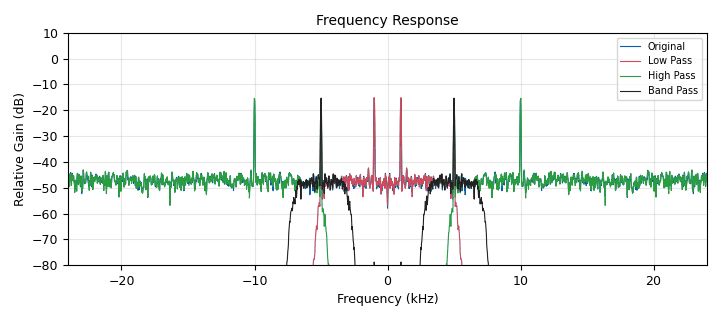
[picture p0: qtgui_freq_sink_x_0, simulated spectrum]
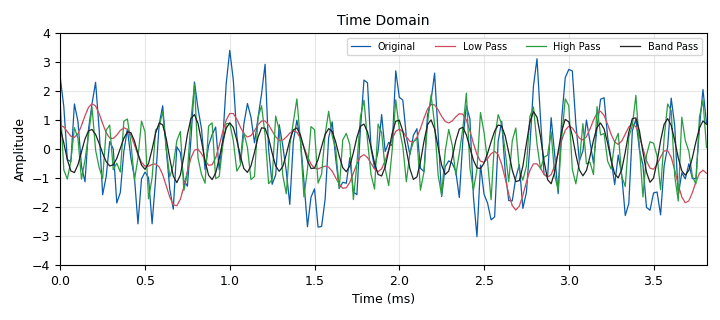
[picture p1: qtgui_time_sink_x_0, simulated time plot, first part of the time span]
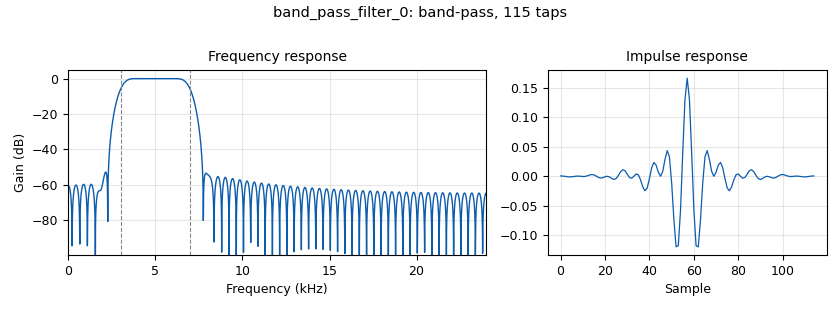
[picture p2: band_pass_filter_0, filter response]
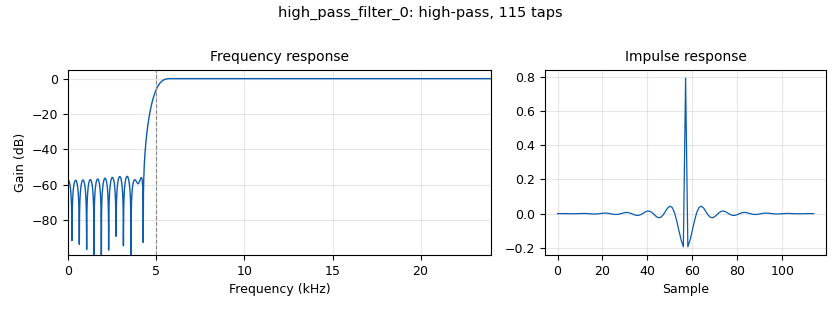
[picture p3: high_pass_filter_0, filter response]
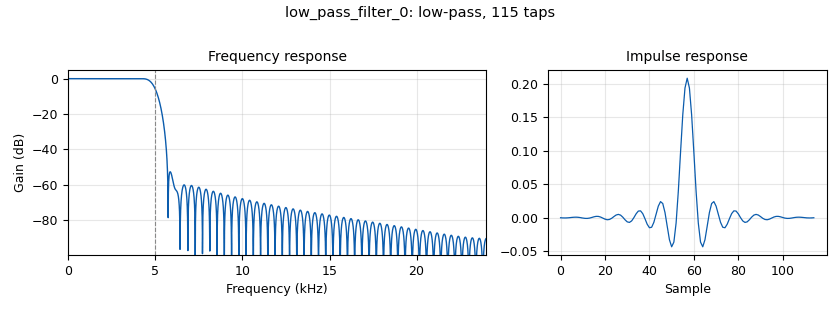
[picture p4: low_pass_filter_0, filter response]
options:
  parameters:
    author: Workshop
    comment: Demonstration of different filter types
    description: Low pass, high pass, and band pass filters
    generate_options: qt_gui
    id: filter_demo
    output_language: python
    title: Filter Demonstration
  states: {}

blocks:
- name: cutoff_freq
  id: variable_qtgui_range
  parameters:
    comment: Cuttoff Frequency
    gui_hint: 0,0,1,2
    label: Cutoff Frequency (Hz)
    start: '1000'
    step: '100'
    stop: '15000'
    value: '5000'
  states: {}
- name: samp_rate
  id: variable
  parameters:
    comment: Sample Rate
    value: '48000'
  states: {}
- name: transition_width
  id: variable_qtgui_range
  parameters:
    comment: Transition Width
    gui_hint: 1,0,1,2
    label: Transition Width (Hz)
    start: '100'
    step: '100'
    stop: '5000'
    value: '1000'
  states: {}
- name: analog_noise_source_x_0
  id: analog_noise_source_x
  parameters:
    amp: '0.5'
    comment: White noise source
    noise_type: analog.GR_GAUSSIAN
    seed: '0'
    type: float
  states: {}
- name: analog_sig_source_x_0
  id: analog_sig_source_x
  parameters:
    amp: '1'
    comment: Test signal 1kHz
    freq: '1000'
    offset: '0'
    phase: '0'
    samp_rate: samp_rate
    type: float
    waveform: analog.GR_COS_WAVE
  states: {}
- name: analog_sig_source_x_1
  id: analog_sig_source_x
  parameters:
    amp: '1'
    comment: Test signal 5kHz
    freq: '5000'
    offset: '0'
    phase: '0'
    samp_rate: samp_rate
    type: float
    waveform: analog.GR_COS_WAVE
  states: {}
- name: analog_sig_source_x_2
  id: analog_sig_source_x
  parameters:
    amp: '1'
    comment: Test signal 10kHz
    freq: '10000'
    offset: '0'
    phase: '0'
    samp_rate: samp_rate
    type: float
    waveform: analog.GR_COS_WAVE
  states: {}
- name: band_pass_filter_0
  id: band_pass_filter
  parameters:
    comment: Band Pass Filter
    decim: '1'
    gain: '1'
    high_cutoff_freq: cutoff_freq + 2000
    low_cutoff_freq: cutoff_freq - 2000
    samp_rate: samp_rate
    type: fir_filter_fff
    width: transition_width
    win: window.WIN_HAMMING
  states: {}
- name: blocks_add_xx_0
  id: blocks_add_xx
  parameters:
    comment: Combine signals
    num_inputs: '4'
    type: float
  states: {}
- name: blocks_throttle2_0
  id: blocks_throttle2
  parameters:
    comment: Rate limit
    samples_per_second: samp_rate
    type: float
  states: {}
- name: high_pass_filter_0
  id: high_pass_filter
  parameters:
    comment: High Pass Filter
    cutoff_freq: cutoff_freq
    decim: '1'
    gain: '1'
    samp_rate: samp_rate
    type: fir_filter_fff
    width: transition_width
    win: window.WIN_HAMMING
  states: {}
- name: low_pass_filter_0
  id: low_pass_filter
  parameters:
    comment: Low Pass Filter
    cutoff_freq: cutoff_freq
    decim: '1'
    gain: '1'
    samp_rate: samp_rate
    type: fir_filter_fff
    width: transition_width
    win: window.WIN_HAMMING
  states: {}
- name: qtgui_freq_sink_x_0
  id: qtgui_freq_sink_x
  parameters:
    alpha2: '0.7'
    alpha3: '0.7'
    alpha4: '0.7'
    average: '0.2'
    bw: samp_rate
    fc: '0'
    fftsize: '2048'
    grid: 'True'
    gui_hint: 2,0,2,3
    label1: Original
    label2: Low Pass
    label3: High Pass
    label4: Band Pass
    name: '"Frequency Response"'
    nconnections: '4'
    type: float
    width1: '2'
    width2: '2'
    width3: '2'
    width4: '2'
    ymin: '-80'
  states: {}
- name: qtgui_time_sink_x_0
  id: qtgui_time_sink_x
  parameters:
    grid: 'True'
    gui_hint: 4,0,2,3
    label1: Original
    label2: Low Pass
    label3: High Pass
    label4: Band Pass
    name: '"Time Domain"'
    nconnections: '4'
    size: '2048'
    srate: samp_rate
    type: float
    ymax: '4'
    ymin: '-4'
  states: {}

connections:
- [analog_noise_source_x_0, '0', blocks_add_xx_0, '0']
- [analog_sig_source_x_0, '0', blocks_add_xx_0, '1']
- [analog_sig_source_x_1, '0', blocks_add_xx_0, '2']
- [analog_sig_source_x_2, '0', blocks_add_xx_0, '3']
- [band_pass_filter_0, '0', qtgui_freq_sink_x_0, '3']
- [band_pass_filter_0, '0', qtgui_time_sink_x_0, '3']
- [blocks_add_xx_0, '0', blocks_throttle2_0, '0']
- [blocks_throttle2_0, '0', band_pass_filter_0, '0']
- [blocks_throttle2_0, '0', high_pass_filter_0, '0']
- [blocks_throttle2_0, '0', low_pass_filter_0, '0']
- [blocks_throttle2_0, '0', qtgui_freq_sink_x_0, '0']
- [blocks_throttle2_0, '0', qtgui_time_sink_x_0, '0']
- [high_pass_filter_0, '0', qtgui_freq_sink_x_0, '2']
- [high_pass_filter_0, '0', qtgui_time_sink_x_0, '2']
- [low_pass_filter_0, '0', qtgui_freq_sink_x_0, '1']
- [low_pass_filter_0, '0', qtgui_time_sink_x_0, '1']

metadata:
  file_format: 1
  grc_version: 3.10.7.0
